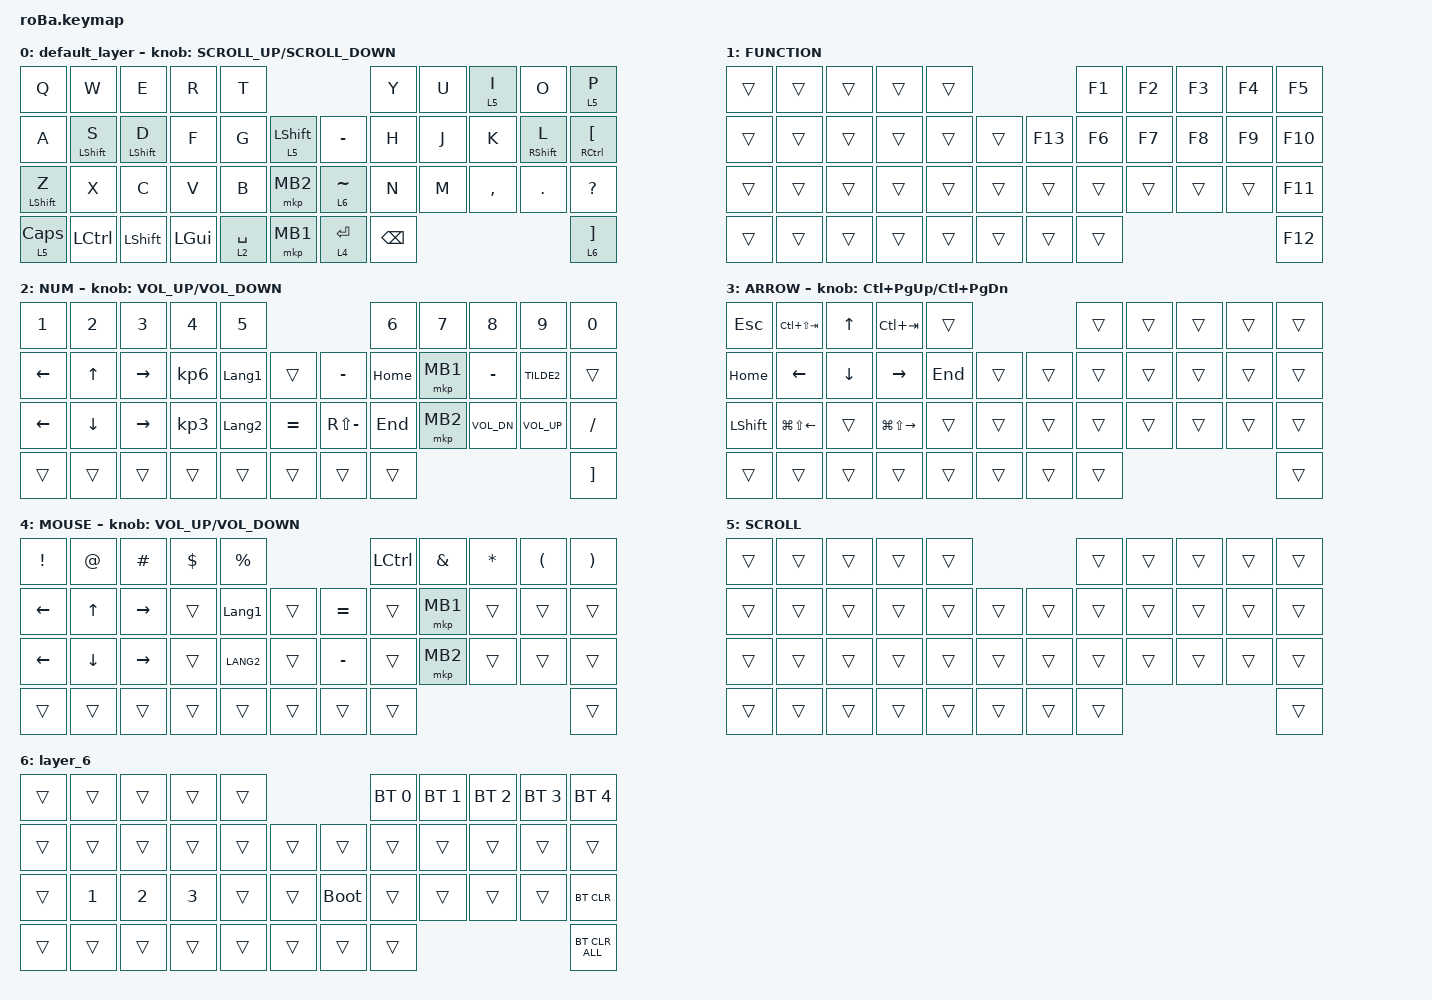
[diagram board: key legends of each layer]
#include <behaviors.dtsi>
#include <dt-bindings/zmk/bt.h>
#include <dt-bindings/zmk/keys.h>
#include <dt-bindings/zmk/pointing.h>

#define MOUSE 7
#define SCROLL 8
#define NUM 9

&mt {
    flavor = "balanced";
    quick-tap-ms = <0>;
};

/ {
    combos {
        compatible = "zmk,combos";

        tab {
            bindings = <&kp TAB>;
            key-positions = <11 12>;
        };

        shift_tab {
            bindings = <&kp LS(TAB)>;
            key-positions = <12 13>;
        };

        muhennkann {
            bindings = <&to 0 &kp INT_MUHENKAN>;
            key-positions = <11 10>;
        };

        double_quotation {
            bindings = <&kp DOUBLE_QUOTES>;
            key-positions = <20 21>;
        };

        eq {
            bindings = <&kp EQUAL>;
            key-positions = <24 25>;
        };
    };

    macros {
        to_layer_0: to_layer_0 {
            compatible = "zmk,behavior-macro-one-param";
            #binding-cells = <1>;
            bindings = <&to 0 &macro_param_1to1 &kp MACRO_PLACEHOLDER>;
            label = "TO_LAYER_0";
        };
    };

    behaviors {
        lt_to_layer_0: lt_to_layer_0 {
            compatible = "zmk,behavior-hold-tap";
            label = "LAYER_TAP_TO_0";
            bindings = <&mo>, <&to_layer_0>;

            #binding-cells = <2>;
            tapping-term-ms = <200>;
        };
    };

    keymap {
        compatible = "zmk,keymap";

        default_layer {
            bindings = <
&kp Q             &kp W             &kp E             &kp R         &kp T                                           &kp Y     &kp U  &lt 5 I    &kp O              &lt 5 P
&kp A             &mt LEFT_SHIFT S  &mt LEFT_SHIFT D  &kp F         &kp G        &lt 5 LEFT_SHIFT      &kp MINUS    &kp H     &kp J  &kp K      &mt RIGHT_SHIFT L  &mt RIGHT_CONTROL LEFT_BRACKET
&mt LEFT_SHIFT Z  &kp X             &kp C             &kp V         &kp B        &mkp MB2              &lt 6 TILDE  &kp N     &kp M  &kp COMMA  &kp DOT            &kp QUESTION
&lt 5 CLCK        &kp LEFT_CONTROL  &kp LEFT_SHIFT    &kp LEFT_GUI  &lt 2 SPACE  &mkp MB1              &lt 4 ENTER  &kp BSPC                                       &lt 6 RIGHT_BRACKET
            >;

            sensor-bindings = <&inc_dec_kp K_SCROLL_UP K_SCROLL_DOWN>;
        };

        FUNCTION {
            bindings = <
&trans  &trans  &trans  &trans  &trans                       &kp F1  &kp F2  &kp F3  &kp F4  &kp F5
&trans  &trans  &trans  &trans  &trans  &trans      &kp F13  &kp F6  &kp F7  &kp F8  &kp F9  &kp F10
&trans  &trans  &trans  &trans  &trans  &trans      &trans   &trans  &trans  &trans  &trans  &kp F11
&trans  &trans  &trans  &trans  &trans  &trans      &trans   &trans                          &kp F12
            >;
        };

        NUM {
            bindings = <
&kp NUMBER_1  &kp NUMBER_2  &kp NUMBER_3     &kp NUMBER_4     &kp N5                                        &kp NUMBER_6  &kp N7    &kp N8        &kp N9        &kp N0
&kp LEFT      &kp UP_ARROW  &kp RIGHT        &kp KP_NUMBER_6  &kp LANGUAGE_1  &trans         &kp MINUS      &kp HOME      &mkp MB1  &kp MINUS     &kp TILDE2    &trans
&kp LEFT      &kp DOWN      &kp RIGHT_ARROW  &kp KP_NUMBER_3  &kp LANGUAGE_2  &kp EQUAL      &kp RS(MINUS)  &kp END       &mkp MB2  &kp C_VOL_DN  &kp C_VOL_UP  &kp SLASH
&trans        &trans        &trans           &trans           &trans          &trans         &trans         &trans                                              &kp RIGHT_BRACKET
            >;

            sensor-bindings = <&inc_dec_kp C_VOLUME_UP C_VOLUME_DOWN>;
        };

        ARROW {
            bindings = <
&kp ESCAPE      &kp LC(LS(TAB))         &kp UP_ARROW    &kp LC(TAB)              &trans                       &trans  &trans  &trans  &trans  &trans
&kp HOME        &kp LEFT_ARROW          &kp DOWN_ARROW  &kp RIGHT_ARROW          &kp END  &trans      &trans  &trans  &trans  &trans  &trans  &trans
&kp LEFT_SHIFT  &kp LG(LS(LEFT_ARROW))  &trans          &kp LG(LS(RIGHT_ARROW))  &trans   &trans      &trans  &trans  &trans  &trans  &trans  &trans
&trans          &trans                  &trans          &trans                   &trans   &trans      &trans  &trans                          &trans
            >;

            sensor-bindings = <&inc_dec_kp LC(PAGE_UP) LC(PAGE_DOWN)>;
        };

        MOUSE {
            bindings = <
&kp EXCLAMATION  &kp AT_SIGN   &kp HASH         &kp DOLLAR  &kp PERCENT                            &kp LCTRL  &kp AMPERSAND  &kp ASTERISK  &kp LPAR  &kp RIGHT_PARENTHESIS
&kp LEFT_ARROW   &kp UP_ARROW  &kp RIGHT_ARROW  &trans      &kp LANGUAGE_1  &trans      &kp EQUAL  &trans     &mkp MB1       &trans        &trans    &trans
&kp LEFT         &kp DOWN      &kp RIGHT_ARROW  &trans      &kp LANG2       &trans      &kp MINUS  &trans     &mkp MB2       &trans        &trans    &trans
&trans           &trans        &trans           &trans      &trans          &trans      &trans     &trans                                            &trans
            >;

            sensor-bindings = <&inc_dec_kp C_VOLUME_UP C_VOLUME_DOWN>;
        };

        SCROLL {
            bindings = <
&trans  &trans  &trans  &trans  &trans                      &trans  &trans  &trans  &trans  &trans
&trans  &trans  &trans  &trans  &trans  &trans      &trans  &trans  &trans  &trans  &trans  &trans
&trans  &trans  &trans  &trans  &trans  &trans      &trans  &trans  &trans  &trans  &trans  &trans
&trans  &trans  &trans  &trans  &trans  &trans      &trans  &trans                          &trans
            >;
        };

        layer_6 {
            bindings = <
&trans  &trans        &trans        &trans        &trans                           &bt BT_SEL 0  &bt BT_SEL 1  &bt BT_SEL 2  &bt BT_SEL 3  &bt BT_SEL 4
&trans  &trans        &trans        &trans        &trans  &trans      &trans       &trans        &trans        &trans        &trans        &trans
&trans  &kp NUMBER_1  &kp NUMBER_2  &kp NUMBER_3  &trans  &trans      &bootloader  &trans        &trans        &trans        &trans        &bt BT_CLR
&trans  &trans        &trans        &trans        &trans  &trans      &trans       &trans                                                  &bt BT_CLR_ALL
            >;
        };
    };
};
